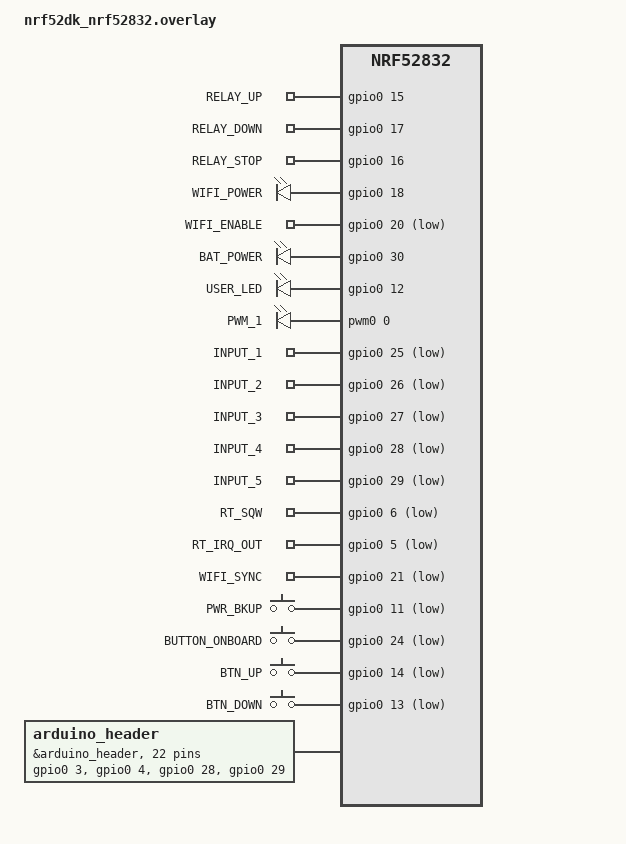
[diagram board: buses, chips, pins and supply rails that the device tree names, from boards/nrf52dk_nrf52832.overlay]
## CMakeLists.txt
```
#
# Copyright (c) 2018 Nordic Semiconductor
#
# SPDX-License-Identifier: LicenseRef-Nordic-5-Clause
#
cmake_minimum_required(VERSION 3.20.0)

find_package(Zephyr REQUIRED HINTS $ENV{ZEPHYR_BASE})
project(NONE)

# NORDIC SDK APP START

target_include_directories(app PRIVATE
  src
  src/bsp
)

target_sources(app PRIVATE
  src/main.cpp
  src/bsp/bsp.cpp
  src/bsp/buzzer.cpp
)

# NORDIC SDK APP END

zephyr_library_include_directories(.)
```

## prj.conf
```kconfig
#
# Copyright (c) 2018 Nordic Semiconductor
#
# SPDX-License-Identifier: LicenseRef-Nordic-5-Clause
#

# Enable the UART driver
CONFIG_UART_ASYNC_API=n
CONFIG_NRFX_UARTE0=y
CONFIG_SERIAL=y

CONFIG_GPIO=y
CONFIG_PWM=y

# Make sure printk is printing to the UART console
CONFIG_CONSOLE=n
CONFIG_UART_CONSOLE=n

CONFIG_HEAP_MEM_POOL_SIZE=2048

CONFIG_BT=y
CONFIG_BT_PERIPHERAL=y
CONFIG_BT_DEVICE_NAME="Rhino_HW_Test"
CONFIG_BT_DEVICE_APPEARANCE=833
CONFIG_BT_MAX_CONN=1
CONFIG_BT_MAX_PAIRED=1

# Enable the NUS service
CONFIG_BT_NUS=y

# Enable bonding
CONFIG_BT_SETTINGS=y
CONFIG_FLASH=y
CONFIG_FLASH_PAGE_LAYOUT=y
CONFIG_FLASH_MAP=y
CONFIG_NVS=y
CONFIG_SETTINGS=y

# Enable DK LED and Buttons library
CONFIG_DK_LIBRARY=n

# This example requires more workqueue stack
CONFIG_SYSTEM_WORKQUEUE_STACK_SIZE=2048

# Config logger
CONFIG_LOG=y
CONFIG_USE_SEGGER_RTT=y
CONFIG_LOG_BACKEND_RTT=y
CONFIG_LOG_BACKEND_UART=n
CONFIG_LOG_PRINTK=n

CONFIG_ASSERT=y
```

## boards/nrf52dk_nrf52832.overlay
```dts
&{/aliases}{
    /delete-property/ led0;
    /delete-property/ led1;
    /delete-property/ led2;
    /delete-property/ led3;
    /delete-property/ sw0;
    /delete-property/ sw1;
    /delete-property/ sw2;
    /delete-property/ sw3;
	/delete-property/ pwm-led0;
	/delete-property/ bootloader-led0;
	/delete-property/ mcuboot-button0;
	/delete-property/ mcuboot-led0;
	button-up   = &i_input_3;
	button-down = &i_input_4;
	button-stop = &i_input_5;
	buzzer-pwm  = &buzzer;
};

&{/leds}{
    led0: led_0 {
        status = "disabled";
    };
    led1: led_1 {
        status = "disabled";
    };
    led2: led_2 {
        status = "disabled";
    };
    led3: led_3 {
        status = "disabled";
    };
};


&{/buttons}{
	button0: button_0 {
    	status = "disabled";
	};
	button1: button_1 {
    	status = "disabled";
	};
	button2: button_2 {
    	status = "disabled";
	};
	button3: button_3 {
    	status = "disabled";
	};
};

/{
	outputs {
		compatible = "gpio-leds";
		o_relay_up: relay_up {
			gpios = < &gpio0 15 GPIO_ACTIVE_HIGH >;
			label = "RELAY_UP";
		};
		o_relay_ldown: relay_down {
			gpios = < &gpio0 17 GPIO_ACTIVE_HIGH >;
			label = "RELAY_DOWN";
		};
		o_relay_stop: relay_stop {
			gpios = < &gpio0 16 GPIO_ACTIVE_HIGH >;
			label = "RELAY_STOP";
		};
		// o_led: led {
		// 	gpios = < &gpio0 12 GPIO_ACTIVE_LOW >;
		// 	label = "USER_LED";
		// };
		o_wifi_power: wifi_power {
			gpios = < &gpio0 18 GPIO_ACTIVE_HIGH >;
			label = "WIFI_POWER";
		};
		o_wifi_enable: wifi_enable {
			gpios = < &gpio0 20 GPIO_ACTIVE_LOW >;
			label = "WIFI_ENABLE";
		};
		o_bat_power: bat_power{
			gpios = < &gpio0 30 GPIO_ACTIVE_HIGH>;
			label = "BAT_POWER";
		};
	};

	b_leds {
		compatible = "gpio-leds";
		o_led: led {
			gpios = < &gpio0 12 GPIO_ACTIVE_HIGH >;
			label = "USER_LED";
		};
	};

	pwmbuzzer {
		compatible = "pwm-leds";
		status = "okay";

		buzzer: buzzer_pwm {
			pwms = <&pwm0 0 PWM_MSEC(20) PWM_POLARITY_INVERTED>;
			label = "PWM_1";
		};
	};

	pwmleds {
		/delete-node/ pwm_led_0;
	};

	
	inputs {
		compatible = "gpio-keys";
		// i_sig_up: signal_up {
		// 	gpios = < &gpio0 14 0x11 >;
		// 	label = "SIGNAL_UP";
		// };
		// i_sig_down: signal_down {
		// 	gpios = < &gpio0 13 0x11 >;
		// 	label = "SIGNAL_DOWN";
		// };
		// i_button: button {
		// 	gpios = < &gpio0 24 0x11 >;
		// 	label = "BUTTON";
		// };
		i_input_1: input_1 {
			gpios = < &gpio0 25 GPIO_ACTIVE_LOW >;
			label = "INPUT_1";
		};
		i_input_2: input_2 {
			gpios = < &gpio0 26 GPIO_ACTIVE_LOW >;
			label = "INPUT_2";
		};
		i_input_3: input_3 {
			gpios = < &gpio0 27 (GPIO_PULL_UP | GPIO_ACTIVE_LOW) >;
			label = "INPUT_3";
		};
		i_input_4: input_4 {
			gpios = < &gpio0 28 (GPIO_PULL_UP | GPIO_ACTIVE_LOW) >;
			label = "INPUT_4";
		};
		i_input_5: input_5 {
			gpios = < &gpio0 29 (GPIO_PULL_UP | GPIO_ACTIVE_LOW) >;
			label = "INPUT_5";
		};

		i_rt_sqw: rt_sqw {
			gpios = < &gpio0 6 0x11 >;
			label = "RT_SQW";
		};
		i_rt_irq: rt_irq {
			gpios = < &gpio0 5 0x11 >;
			label = "RT_IRQ_OUT";
		};
		i_wifi_sync: wifi_sync {
			gpios = < &gpio0 21 0x11 >;
			label = "WIFI_SYNC";
		};
		i_pwr_bkup: pwr_bkup {
			gpios = < &gpio0 11 0x11>;
			label = "PWR_BKUP";
		};
	};

	b_buttons {
		compatible = "gpio-keys";
		button: button_onboard {
			gpios = < &gpio0 24 (GPIO_PULL_UP | GPIO_ACTIVE_LOW) >;
			label = "BUTTON_ONBOARD";
		};
		button_up_df: button_up {
			gpios = < &gpio0 14 (GPIO_PULL_UP | GPIO_ACTIVE_LOW) >;
			label = "BTN_UP";
		};
		button_down_df: button_down {
			gpios = < &gpio0 13 (GPIO_PULL_UP | GPIO_ACTIVE_LOW) >;
			label = "BTN_DOWN";
		};
	};
}; 

//---------------------- 
&uart0 {
	status = "disabled";
};

&uart0_default {
	group1 {
		psels = <NRF_PSEL(UART_TX, 0, 22)>,
			<NRF_PSEL(UART_RX, 0, 19)>;
	};
};

&uart0_sleep {
	group1 {
		psels = <NRF_PSEL(UART_TX, 0, 22)>,
			<NRF_PSEL(UART_RX, 0, 19)>;
	};
};

//----------------------

&i2c0 {
	status = "disabled";
};

&i2c1 {
	status = "disabled";
};

//----------------------

&pwm0_default {
	group1 {
		psels = <NRF_PSEL(PWM_OUT0, 0, 31)>;
	};
};

&pwm0_sleep {
	group1 {
		psels = <NRF_PSEL(PWM_OUT0, 0, 31)>;
	};
};

//----------------------

&spi0{
	status = "disabled";
};

&spi1{
	status = "disabled";
};

&spi2{
	status = "disabled";
};

&spi0_default {
	/delete-node/ group1;
};

&spi0_sleep {
	/delete-node/ group1;
};

&spi1_default {
	/delete-node/ group1;
};

&spi1_sleep {
	/delete-node/ group1;
};

&spi2_default {
	/delete-node/ group1;
};

&spi2_sleep {
	/delete-node/ group1;
};

//----------------------

&flash0{
	partitions {
		/delete-node/ partition@c000;
		/delete-node/ partition@70000;
		/delete-node/ partition@7a000;
		boot_partition: partition@0 {
			label = "mcuboot";
			reg = < 0x0 0x28000 >;
		};
		slot0_partition: partition@28000 {
			label = "image-0";
			reg = < 0x28000 0x4d000 >;
		};
		storage_partition: partition@75000 {
			label = "storage";
			reg = < 0x75000 0xa000 >;
		};
	};
};

&arduino_header {
    gpio-map = <0 0 &gpio0 3 0>,
               <1 0 &gpio0 4 0>,
               <2 0 &gpio0 28 0>,
               <3 0 &gpio0 29 0>,
               <4 0 &gpio0 30 0>,
               <5 0 &gpio0 31 0>,
               <6 0 &gpio0 11 0>,
               <7 0 &gpio0 12 0>,
               <8 0 &gpio0 13 0>,
               <9 0 &gpio0 14 0>,
               <10 0 &gpio0 15 0>,
               <11 0 &gpio0 16 0>,
               <12 0 &gpio0 17 0>,
               <13 0 &gpio0 18 0>,
               <14 0 &gpio0 19 0>,
               <15 0 &gpio0 20 0>,
               <16 0 &gpio0 22 0>,
               <17 0 &gpio0 23 0>,
               <18 0 &gpio0 24 0>,
               <19 0 &gpio0 25 0>,
               <20 0 &gpio0 26 0>,
               <21 0 &gpio0 27 0>;
};
```

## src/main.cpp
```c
/*
 * Copyright (c) 2018 Nordic Semiconductor ASA
 *
 * SPDX-License-Identifier: LicenseRef-Nordic-5-Clause
 */

/** @file
 *  @brief 
 */
// #include "uart_async_adapter.h"

#include <zephyr/types.h>
#include <zephyr/kernel.h>

#include <stdio.h>
#include "bsp.h"
#include <zephyr/logging/log.h>

#define LOG_MODULE_NAME main
LOG_MODULE_REGISTER(LOG_MODULE_NAME);

#define RUN_LED_BLINK_INTERVAL 1000


static void ButtonEventHandler(uint32_t buttonState, uint32_t hasChanged)
{
	if (hasChanged & BTN_ONBOARD_MSK) {
		if (buttonState & BTN_ONBOARD_MSK)
		{
			LOG_INF("Button Onboard press");
			// BSP::SetOutputs(DK_LED1_MSK);
			BSP::dk_set_led_on(LED_ONBOARD);
		}
		else
		{
			LOG_INF("Button Onboard release");
			// BSP::SetOutputs(DK_NO_LEDS_MSK);
			BSP::dk_set_led_off(LED_ONBOARD);
		}

		// BSP::SetOutput(LED_ONBOARD, (bool)(buttonState & BTN_ONBOARD_MSK));
	}
	else
	if (hasChanged & BTN_UP_MSK) {
		if (buttonState & BTN_UP_MSK)
		{
			LOG_INF("Button UP press");
		} else
		{
			LOG_INF("Button UP release");
		}

		BSP::SetOutput(RELAY_UP, (bool)(buttonState & RELAY_UP_MSK));
	}
	else
	if (hasChanged & BTN_DOWN_MSK) {
		if (buttonState & BTN_DOWN_MSK)
		{
			LOG_INF("Button DOWN press");
		} else
		{
			LOG_INF("Button DOWN release");
		}

		BSP::SetOutput(RELAY_DOWN, (bool)(buttonState & RELAY_DOWN_MSK));
	}
	else
	if (hasChanged & BTN_STOP_MSK) {
		if (buttonState & BTN_STOP_MSK)
		{
			LOG_INF("Button STOP press");
		} else
		{
			LOG_INF("Button STOP release");
		}

		BSP::SetOutput(RELAY_STOP, (bool)(buttonState & RELAY_STOP_MSK));
	}
}


int main(void)
{
	BSP::InitGpio();
	BSP::InitInputsAndButtons(ButtonEventHandler);

	//TODO:
	// Read user data in flash
	// Read Pi list in flash
	// Read Pi list in flash

	// Turn ON wifi module power
	// Turn OFF user led
	// Disable wifi module (IO)

	// Button handler init
	// - Factory reset module wifi.
	// 

	LOG_INF("Initialized");

	for (;;) {
		// LOG_INF("Bluetooth initialized");
		k_msleep(RUN_LED_BLINK_INTERVAL);
	}
}
```
